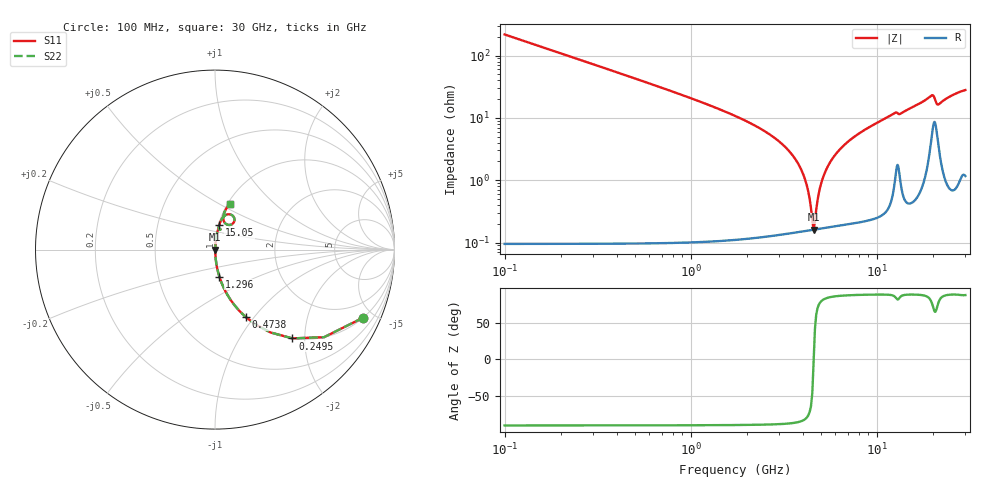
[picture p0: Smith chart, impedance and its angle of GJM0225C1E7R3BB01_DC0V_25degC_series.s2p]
!Murata Part Number: GJM0225C1E7R3BB01
!These Parameters are Measured in Series Mode Connection
!  o--ll--o
!Port1  Port2
!  o------o
!Operation Temp=25[degC], DC Bias Voltage=0[V]
!Freq. Start=100[MHz] Stop=30[GHz], 401[Steps]
!Data Generated on Feb 1, 2023
# Hz S RI R 50
!Freq.(Hz) S11(Real) S11(Imag) S21(Real) S21(Imag) S12(Real) S12(Imag) S22(Real) S22(Imag)
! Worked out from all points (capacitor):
!   401 points, 100 MHz to 30 GHz, reference 50 ohm
!   read as one part in series: C = 7.3 pF near 249.5 MHz
!   lowest |Z| = 161 mohm at 4.585 GHz (marker M1)
!   series resonance near 4.59 GHz, so ESL is about 160 pH
!   S11 on the Smith chart (normalised r, x): 100 MHz: 1.00, -4.36; 249.5 MHz: 1.00, -1.74; 473.8 MHz: 1.00, -0.91; 1.296 GHz: 1.00, -0.31; 15.05 GHz: 1.01, +0.28; 30 GHz: 1.02, +0.56
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1e8  0.8259 -0.3789  0.1741 0.3789  0.1741 0.3789  0.8259 -0.3789
2.495e8  0.4316 -0.4947  0.5684 0.4947  0.5684 0.4947  0.4316 -0.4947
4.7375e8  0.1722 -0.3765  0.8278 0.3765  0.8278 0.3765  0.1722 -0.3765
7.7275e8  0.0707 -0.2545  0.9293 0.2545  0.9293 0.2545  0.0707 -0.2545
1.296e9  0.0243 -0.1508  0.9757 0.1508  0.9757 0.1508  0.0243 -0.1508
3.01525e9  0.003 -0.0408  0.997 0.0408  0.997 0.0408  0.003 -0.0408
3.688e9  0.00188 -0.0208  0.9981 0.0208  0.9981 0.0208  0.00188 -0.0208
4.1365e9  0.00163 -0.00983  0.9984 0.00983  0.9984 0.00983  0.00163 -0.00983
4.4355e9  0.00159 -0.00322  0.9984 0.00322  0.9984 0.00322  0.00159 -0.00322
4.585e9  0.0016 -9.23e-05  0.9984 9.23e-05  0.9984 9.23e-05  0.0016 -9.23e-05
4.7345e9  0.00164 0.00294  0.9984 -0.00294  0.9984 -0.00294  0.00164 0.00294
4.884e9  0.00169 0.00587  0.9983 -0.00587  0.9983 -0.00587  0.00169 0.00587
5.10825e9  0.00179 0.0101  0.9982 -0.0101  0.9982 -0.0101  0.00179 0.0101
5.70625e9  0.00221 0.0207  0.9978 -0.0207  0.9978 -0.0207  0.00221 0.0207
6.678e9  0.00323 0.0362  0.9968 -0.0362  0.9968 -0.0362  0.00323 0.0362
8.09825e9  0.00533 0.0566  0.9947 -0.0566  0.9947 -0.0566  0.00533 0.0566
1.01165e10  0.0095 0.0832  0.9905 -0.0832  0.9905 -0.0832  0.0095 0.0832
1.505e10  0.0235 0.1372  0.9765 -0.1372  0.9765 -0.1372  0.0235 0.1372
2.005825e10  0.1025 0.1845  0.8975 -0.1845  0.8975 -0.1845  0.1025 0.1845
2.125425e10  0.0656 0.1403  0.9344 -0.1403  0.9344 -0.1403  0.0656 0.1403
2.50665e10  0.054 0.2109  0.946 -0.2109  0.946 -0.2109  0.054 0.2109
3e10  0.0817 0.2538  0.9183 -0.2538  0.9183 -0.2538  0.0817 0.2538
